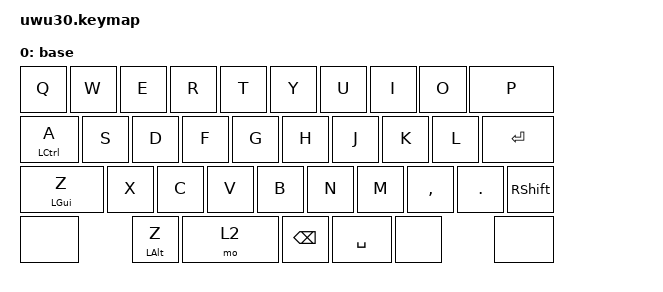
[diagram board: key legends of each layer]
#include <behaviors.dtsi>
#include <dt-bindings/zmk/keys.h>
#include <dt-bindings/zmk/bt.h>
#include <dt-bindings/zmk/outputs.h>

/ {

    behaviors {
        hm: homerow_mods {
            compatible = "zmk,behavior-hold-tap";
            display-name = "Homerow Mods";
            bindings = <&kp>, <&kp>;

            #binding-cells = <2>;
            tapping-term-ms = <200>;
            quick-tap-ms = <180>;
            require-prior-idle-ms = <0>;
            flavor = "tap-preferred";
        };
    };


    keymap {
        compatible = "zmk,keymap";

        base {
            bindings = <
                &kp Q      &kp W      &kp E      &kp R      &kp T      &kp Y      &kp U      &kp I      &kp O      &kp P
                &hm LCTRL A     &kp S    &kp D       &kp F      &kp G      &kp H      &kp J      &kp K       &kp L       &kp ENTER
                &hm LGUI Z          &kp X      &kp C      &kp V      &kp B      &kp N      &kp M    &kp COMMA   &kp PERIOD   &kp RSHIFT
                  &none        &hm LALT Z    &mo 2      &kp BKSP               &kp SPACE           &none &none
            >;
        };

        extra1 {
            status = "reserved";
        };

        extra2 {
            status = "reserved";
        };

        extra3 {
            status = "reserved";
        };

        extra4 {
            status = "reserved";
        };

        extra5 {
            status = "reserved";
        };

        extra6 {
            status = "reserved";
        };
    };
};
